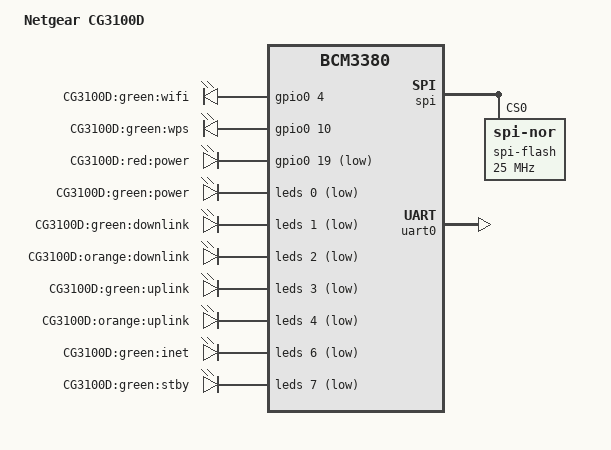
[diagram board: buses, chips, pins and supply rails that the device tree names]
// SPDX-License-Identifier: GPL-2.0+
/*
 * Copyright (C) 2017 Álvaro Fernández Rojas <noltari@gmail.com>
 */

/dts-v1/;

#include "brcm,bcm3380.dtsi"

/ {
	model = "Netgear CG3100D";
	compatible = "netgear,cg3100d", "brcm,bcm3380";

	aliases {
		serial0 = &uart0;
	};

	chosen {
		stdout-path = "serial0:115200n8";
	};

	gpio-leds {
		compatible = "gpio-leds";

		wifi_green {
			label = "CG3100D:green:wifi";
			gpios = <&gpio0 4 GPIO_ACTIVE_HIGH>;
		};

		wps_green {
			label = "CG3100D:green:wps";
			gpios = <&gpio0 10 GPIO_ACTIVE_HIGH>;
		};

		power_red {
			label = "CG3100D:red:power";
			gpios = <&gpio0 19 GPIO_ACTIVE_LOW>;
		};
	};
};

&leds {
	status = "okay";

	led@0 {
		reg = <0>;
		active-low;
		label = "CG3100D:green:power";
	};

	led@1 {
		reg = <1>;
		active-low;
		label = "CG3100D:green:downlink";
	};

	led@2 {
		reg = <2>;
		active-low;
		label = "CG3100D:orange:downlink";
	};

	led@3 {
		reg = <3>;
		active-low;
		label = "CG3100D:green:uplink";
	};

	led@4 {
		reg = <4>;
		active-low;
		label = "CG3100D:orange:uplink";
	};

	led@6 {
		reg = <6>;
		active-low;
		label = "CG3100D:green:inet";
	};

	led@7 {
		reg = <7>;
		active-low;
		label = "CG3100D:green:stby";
	};
};

&gpio0 {
	status = "okay";
};

&spi {
	status = "okay";

	spi-flash@0 {
		compatible = "jedec,spi-nor";
		reg = <0>;
		#address-cells = <1>;
		#size-cells = <1>;
		spi-max-frequency = <25000000>;
	};
};

&uart0 {
	u-boot,dm-pre-reloc;
	status = "okay";
};
